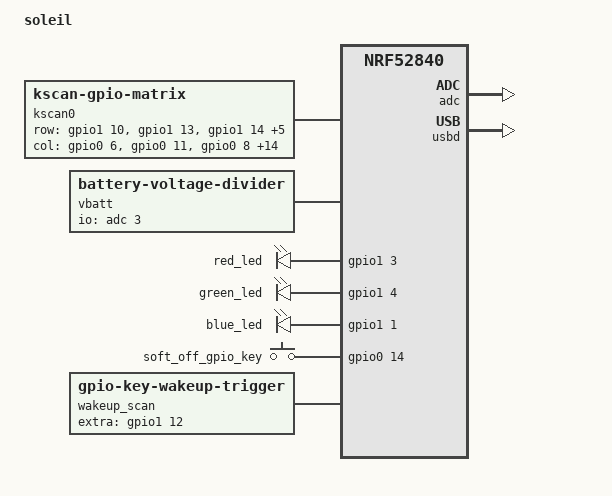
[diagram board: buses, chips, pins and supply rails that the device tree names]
/*
 * Copyright (c) 2020 The ZMK Contributors
 *
 * SPDX-License-Identifier: MIT
 */

/dts-v1/;
#include <nordic/nrf52840_qiaa.dtsi>
#include <dt-bindings/zmk/matrix_transform.h>

#include <zephyr/dt-bindings/gpio/nordic-nrf-gpio.h>

#include "soleil-layouts.dtsi"
#include "soleil-transforms.dtsi"


/ {
	model = "soleil";
	compatible = "soleil";

	chosen {
		zephyr,code-partition = &code_partition;
		zephyr,sram = &sram0;
		zephyr,flash = &flash0;
		zmk,kscan = &kscan0;
		zmk,battery = &vbatt;
		zmk,physical-layout = &physical_layout2;
	};
 
	kscan0: kscan {
		compatible = "zmk,kscan-gpio-matrix";
		wakeup-source;

		diode-direction = "col2row";
		row-gpios
			= <&gpio1 10 (GPIO_ACTIVE_HIGH | GPIO_PULL_DOWN)> // R0
			, <&gpio1 13 (GPIO_ACTIVE_HIGH | GPIO_PULL_DOWN)> // R1
			, <&gpio1 14 (GPIO_ACTIVE_HIGH | GPIO_PULL_DOWN)> // R2
			, <&gpio0 27 (GPIO_ACTIVE_HIGH | GPIO_PULL_DOWN)> // R3
			, <&gpio0  4 (GPIO_ACTIVE_HIGH | GPIO_PULL_DOWN)> // R4
			, <&gpio0 26 (GPIO_ACTIVE_HIGH | GPIO_PULL_DOWN)> // R5
			, <&gpio0 13 (GPIO_ACTIVE_HIGH | GPIO_PULL_DOWN)> // R6
			, <&gpio0 12 (GPIO_ACTIVE_HIGH | GPIO_PULL_DOWN)> // R7
			;
		col-gpios
			= <&gpio0  6 GPIO_ACTIVE_HIGH> // C0
			, <&gpio0 11 GPIO_ACTIVE_HIGH> // C1
			, <&gpio0  8 GPIO_ACTIVE_HIGH> // C2
			, <&gpio0  9 GPIO_ACTIVE_HIGH> // C3
			, <&gpio0 10 GPIO_ACTIVE_HIGH> // C4
			, <&gpio0  7 GPIO_ACTIVE_HIGH> // C5
			, <&gpio0 31 GPIO_ACTIVE_HIGH> // C6
			, <&gpio0 30 GPIO_ACTIVE_HIGH> // C7
			, <&gpio1  6 GPIO_ACTIVE_HIGH> // C8
			, <&gpio0 29 GPIO_ACTIVE_HIGH> // C9
			, <&gpio0 28 GPIO_ACTIVE_HIGH> // C10
			, <&gpio0  2 GPIO_ACTIVE_HIGH> // C11
			, <&gpio1 15 GPIO_ACTIVE_HIGH> // C12
			, <&gpio1 12 GPIO_ACTIVE_HIGH> // C13
			, <&gpio1 11 GPIO_ACTIVE_HIGH> // C14
			, <&gpio1  8 GPIO_ACTIVE_HIGH> // C15
			, <&gpio1  9 GPIO_ACTIVE_HIGH> // C16
			;
	};

     vbatt: vbatt {
         compatible = "zmk,battery-voltage-divider";
         io-channels = <&adc 3>;
         output-ohms = <2000000>;
         full-ohms = <(2000000 + 806000)>;
     };
	
	aliases {
        led-red = &red_led;
        led-green = &green_led;
        led-blue = &blue_led;
    };

    leds {
		compatible = "gpio-leds";
		red_led: led_0 {
			gpios = <&gpio1 3 GPIO_ACTIVE_HIGH>;
		};
		green_led: led_1 {
			gpios = <&gpio1 4 GPIO_ACTIVE_HIGH>;
		};
		blue_led: led_2 {
			gpios = <&gpio1 1 GPIO_ACTIVE_HIGH>;
		};
	};

	keys {
        compatible = "gpio-keys";
        soft_off_gpio_key: soft_off_gpio_key {
            gpios = <&gpio0 14 (GPIO_ACTIVE_HIGH | GPIO_PULL_DOWN)>;
        };
    };

    wakeup_scan: wakeup_scan {
        compatible = "zmk,gpio-key-wakeup-trigger";
        trigger = <&soft_off_gpio_key>;
        wakeup-source;
        extra-gpios = <&gpio1 12 GPIO_ACTIVE_HIGH>;
    };

    soft_off_wakers {
        compatible = "zmk,soft-off-wakeup-sources";
        wakeup-sources = <&wakeup_scan>;
    };
	
};

&adc {
    status = "okay";
};

&gpiote {
    status = "okay";
};

&gpio0 {
	status = "okay";
};

&gpio1 {
	status = "okay";
};

zephyr_udc0: &usbd {
    status = "okay";
};

&flash0 {
    /*
     * For more information, see:
     * http://docs.zephyrproject.org/latest/devices/dts/flash_partitions.html
     */
    partitions {
        compatible = "fixed-partitions";
        #address-cells = <1>;
        #size-cells = <1>;

        sd_partition: partition@0 {
            label = "mbr";
            reg = <0x00000000 0x00001000>;
        };

        code_partition: partition@1000 {
            label = "code_partition";
            reg = <0x00001000 0x000d3000>;
        };

        /*
         * The flash starting at 0x000d4000 and ending at
         * 0x000f3fff is reserved for use by the application.
         */

        /*
         * Storage partition will be used by FCB/LittleFS/NVS
         * if enabled.
         */
        storage_partition: partition@d4000 {
            label = "storage";
            reg = <0x000d4000 0x00020000>;
        };

        boot_partition: partition@f4000 {
            label = "ck_boot";
            reg = <0x000f4000 0x0000c000>;
        };
    };
};
